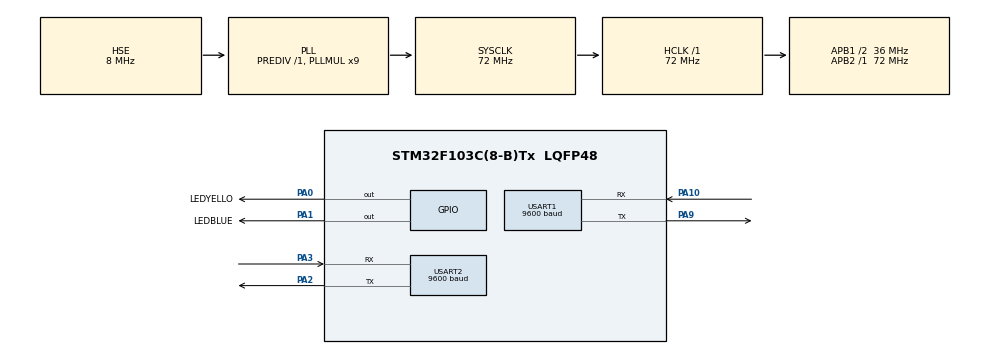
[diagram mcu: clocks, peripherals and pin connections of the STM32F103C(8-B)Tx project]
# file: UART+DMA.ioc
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Dma.Request0=USART1_RX
Dma.Request1=USART1_TX
Dma.Request2=USART2_RX
Dma.Request3=USART2_TX
Dma.USART1_RX.0.Direction=DMA_PERIPH_TO_MEMORY
Dma.USART1_RX.0.Instance=DMA1_Channel5
Dma.USART1_RX.0.MemDataAlignment=DMA_MDATAALIGN_BYTE
Dma.USART1_RX.0.MemInc=DMA_MINC_ENABLE
Dma.USART1_RX.0.Mode=DMA_NORMAL
Dma.USART1_RX.0.PeriphDataAlignment=DMA_PDATAALIGN_BYTE
Dma.USART1_RX.0.PeriphInc=DMA_PINC_DISABLE
Dma.USART1_RX.0.Priority=DMA_PRIORITY_LOW
Dma.USART1_TX.1.Direction=DMA_MEMORY_TO_PERIPH
Dma.USART1_TX.1.Instance=DMA1_Channel4
Dma.USART1_TX.1.MemDataAlignment=DMA_MDATAALIGN_BYTE
Dma.USART1_TX.1.MemInc=DMA_MINC_ENABLE
Dma.USART1_TX.1.Mode=DMA_NORMAL
Dma.USART1_TX.1.PeriphDataAlignment=DMA_PDATAALIGN_BYTE
Dma.USART1_TX.1.PeriphInc=DMA_PINC_DISABLE
Dma.USART1_TX.1.Priority=DMA_PRIORITY_LOW
Dma.USART2_RX.2.Direction=DMA_PERIPH_TO_MEMORY
Dma.USART2_RX.2.Instance=DMA1_Channel6
Dma.USART2_RX.2.MemDataAlignment=DMA_MDATAALIGN_BYTE
Dma.USART2_RX.2.MemInc=DMA_MINC_ENABLE
Dma.USART2_RX.2.Mode=DMA_NORMAL
Dma.USART2_RX.2.PeriphDataAlignment=DMA_PDATAALIGN_BYTE
Dma.USART2_RX.2.PeriphInc=DMA_PINC_DISABLE
Dma.USART2_RX.2.Priority=DMA_PRIORITY_LOW
Dma.USART2_TX.3.Direction=DMA_MEMORY_TO_PERIPH
Dma.USART2_TX.3.Instance=DMA1_Channel7
Dma.USART2_TX.3.MemDataAlignment=DMA_MDATAALIGN_BYTE
Dma.USART2_TX.3.MemInc=DMA_MINC_ENABLE
Dma.USART2_TX.3.Mode=DMA_NORMAL
Dma.USART2_TX.3.PeriphDataAlignment=DMA_PDATAALIGN_BYTE
Dma.USART2_TX.3.PeriphInc=DMA_PINC_DISABLE
Dma.USART2_TX.3.Priority=DMA_PRIORITY_LOW
Mcu.Family=STM32F1
Mcu.Name=STM32F103C(8-B)Tx
Mcu.Package=LQFP48
NVIC.DMA1_Channel4_IRQn=true\:0\:0\:false\:false\:true\:false\:true\:true
NVIC.DMA1_Channel5_IRQn=true\:0\:0\:false\:false\:true\:false\:true\:true
NVIC.DMA1_Channel6_IRQn=true\:0\:0\:false\:false\:true\:false\:true\:true
NVIC.DMA1_Channel7_IRQn=true\:0\:0\:false\:false\:true\:false\:true\:true
NVIC.PriorityGroup=NVIC_PRIORITYGROUP_4
NVIC.USART1_IRQn=true\:0\:0\:false\:false\:true\:true\:true\:true
NVIC.USART2_IRQn=true\:0\:0\:false\:false\:true\:true\:true\:true
PA0-WKUP.GPIO_Label=LEDYELLO
PA0-WKUP.GPIO_ModeDefaultOutputPP=GPIO_MODE_OUTPUT_PP
PA0-WKUP.Signal=GPIO_Output
PA1.GPIO_Label=LEDBLUE
PA1.GPIO_ModeDefaultOutputPP=GPIO_MODE_OUTPUT_PP
PA1.Signal=GPIO_Output
PA10.Mode=Asynchronous
PA10.Signal=USART1_RX
PA13.Mode=Serial_Wire
PA13.Signal=SYS_JTMS-SWDIO
PA14.Mode=Serial_Wire
PA14.Signal=SYS_JTCK-SWCLK
PA2.Mode=Asynchronous
PA2.Signal=USART2_TX
PA3.Mode=Asynchronous
PA3.Signal=USART2_RX
PA9.Mode=Asynchronous
PA9.Signal=USART1_TX
PD0-OSC_IN.Mode=HSE-External-Oscillator
PD0-OSC_IN.Signal=RCC_OSC_IN
PD1-OSC_OUT.Mode=HSE-External-Oscillator
PD1-OSC_OUT.Signal=RCC_OSC_OUT
ProjectManager.HeapSize=0x200
ProjectManager.StackSize=0x400
ProjectManager.TargetToolchain=CMake
RCC.AHBFreq_Value=72000000
RCC.APB1CLKDivider=RCC_HCLK_DIV2
RCC.APB1Freq_Value=36000000
RCC.APB1TimFreq_Value=72000000
RCC.APB2Freq_Value=72000000
RCC.APB2TimFreq_Value=72000000
RCC.HCLKFreq_Value=72000000
RCC.PLLMUL=RCC_PLL_MUL9
RCC.PLLSourceVirtual=RCC_PLLSOURCE_HSE
RCC.SYSCLKFreq_VALUE=72000000
RCC.SYSCLKSource=RCC_SYSCLKSOURCE_PLLCLK
RCC.USBFreq_Value=72000000
TIM2.Period=2000-1
TIM2.Prescaler=720-1
USART1.BaudRate=9600
USART1.VirtualMode=VM_ASYNC
USART2.BaudRate=9600
USART2.VirtualMode=VM_ASYNC
VP_TIM2_VS_ClockSourceINT.Mode=Internal
board=custom

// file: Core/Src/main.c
/* USER CODE BEGIN Header */
/**
  ******************************************************************************
  * @file           : main.c
  * @brief          : Main program body
  ******************************************************************************
  * @attention
  *
  * Copyright (c) 2025 STMicroelectronics.
  * All rights reserved.
  *
  * This software is licensed under terms that can be found in the LICENSE file
  * in the root directory of this software component.
  * If no LICENSE file comes with this software, it is provided AS-IS.
  *
  ******************************************************************************
  */
/* USER CODE END Header */
#include "main.h"
#include "dma.h"
#include "tim.h"
#include "usart.h"
#include "gpio.h"

/* USER CODE BEGIN PV */
uint8_t a[256];
uint16_t b;
/* USER CODE END PV */

void SystemClock_Config(void);

int main(void)
{

  /* MCU Configuration--------------------------------------------------------*/

  /* Reset of all peripherals, Initializes the Flash interface and the Systick. */
  HAL_Init();

  /* Configure the system clock */
  SystemClock_Config();

  /* Initialize all configured peripherals */
  MX_GPIO_Init();
  MX_DMA_Init();
  MX_USART1_UART_Init();
  MX_TIM2_Init();
  MX_USART2_UART_Init();
  /* USER CODE BEGIN 2 */
  HAL_TIM_Base_Start_IT(&htim2);
  HAL_UARTEx_ReceiveToIdle_DMA(&huart1,a,256);//这个已经是接受不定长度的数据了
  __HAL_DMA_DISABLE_IT(huart1.hdmarx,DMA_IT_HT);
  /* USER CODE END 2 */

  /* Infinite loop */
  while (1)
  {

  }
}

void SystemClock_Config(void)
{
  RCC_OscInitTypeDef RCC_OscInitStruct = {0};
  RCC_ClkInitTypeDef RCC_ClkInitStruct = {0};

  /** Initializes the RCC Oscillators according to the specified parameters
  * in the RCC_OscInitTypeDef structure.
  */
  RCC_OscInitStruct.OscillatorType = RCC_OSCILLATORTYPE_HSE;
  RCC_OscInitStruct.HSEState = RCC_HSE_ON;
  RCC_OscInitStruct.HSEPredivValue = RCC_HSE_PREDIV_DIV1;
  RCC_OscInitStruct.HSIState = RCC_HSI_ON;
  RCC_OscInitStruct.PLL.PLLState = RCC_PLL_ON;
  RCC_OscInitStruct.PLL.PLLSource = RCC_PLLSOURCE_HSE;
  RCC_OscInitStruct.PLL.PLLMUL = RCC_PLL_MUL9;
  if (HAL_RCC_OscConfig(&RCC_OscInitStruct) != HAL_OK)
  {
    Error_Handler();
  }

  /** Initializes the CPU, AHB and APB buses clocks
  */
  RCC_ClkInitStruct.ClockType = RCC_CLOCKTYPE_HCLK|RCC_CLOCKTYPE_SYSCLK
                              |RCC_CLOCKTYPE_PCLK1|RCC_CLOCKTYPE_PCLK2;
  RCC_ClkInitStruct.SYSCLKSource = RCC_SYSCLKSOURCE_PLLCLK;
  RCC_ClkInitStruct.AHBCLKDivider = RCC_SYSCLK_DIV1;
  RCC_ClkInitStruct.APB1CLKDivider = RCC_HCLK_DIV2;
  RCC_ClkInitStruct.APB2CLKDivider = RCC_HCLK_DIV1;

  if (HAL_RCC_ClockConfig(&RCC_ClkInitStruct, FLASH_LATENCY_2) != HAL_OK)
  {
    Error_Handler();
  }
}

/* USER CODE BEGIN 4 */
void HAL_UARTEx_RxEventCallback(UART_HandleTypeDef *huart, uint16_t Size)
{
  if(huart->Instance==USART1)
  {
    if(a[0] == 0xaa){
      if(a[1] == Size){
        for(int i=0;i<Size-1;i++){
          b += a[i];
        }
        if(b == a[Size-1]){
          for(int j=2;j<Size-1;j+=2){
            GPIO_PinState state = GPIO_PIN_SET;
            if(a[j] == 0x00){
              state = GPIO_PIN_RESET;
            }
            if(a[j+1] == 0x01){
              HAL_GPIO_WritePin(GPIOA, GPIO_PIN_0 ,state);
            }else if(a[j+1] == 0x02){
              HAL_GPIO_WritePin(GPIOA, GPIO_PIN_1 ,state);
            }else if(a[j+1] == 0x03){
              HAL_GPIO_WritePin(GPIOC, GPIO_PIN_2 ,state);
            }
          }
        }
      }
    }
    HAL_UART_Transmit_DMA(&huart1,a,Size);
    HAL_UARTEx_ReceiveToIdle_DMA(&huart1,a,256);
    __HAL_DMA_DISABLE_IT(huart->hdmarx,DMA_IT_HT);
  }
}
/* USER CODE END 4 */

void Error_Handler(void)
{
  __disable_irq();
  while (1)
  {
  }
}
